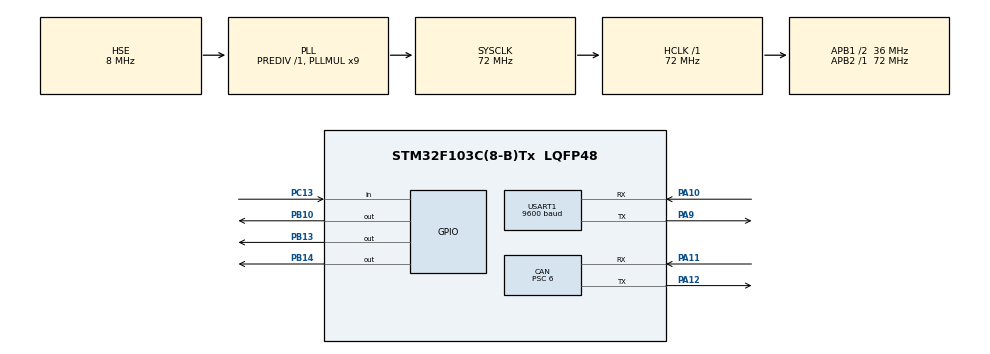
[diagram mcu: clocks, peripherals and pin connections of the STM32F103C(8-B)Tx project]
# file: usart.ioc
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CAN.BS1=CAN_BS1_8TQ
CAN.BS2=CAN_BS2_3TQ
CAN.CalculateBaudRate=499999
CAN.CalculateTimeBit=2000
CAN.CalculateTimeQuantum=166.66666666666669
CAN.Prescaler=6
IWDG.Prescaler=IWDG_PRESCALER_128
IWDG.Reload=2000
Mcu.Family=STM32F1
Mcu.Name=STM32F103C(8-B)Tx
Mcu.Package=LQFP48
NVIC.PriorityGroup=NVIC_PRIORITYGROUP_4
NVIC.TIM4_IRQn=true\:15\:0\:true\:false\:true\:false\:true\:true
NVIC.TimeBase=TIM4_IRQn
NVIC.TimeBaseIP=TIM4
NVIC.USART1_IRQn=true\:0\:0\:false\:false\:true\:true\:true\:true
PA10.Mode=Asynchronous
PA10.Signal=USART1_RX
PA11.Mode=CAN_Activate
PA11.Signal=CAN_RX
PA12.Mode=CAN_Activate
PA12.Signal=CAN_TX
PA13.Mode=Serial_Wire
PA13.Signal=SYS_JTMS-SWDIO
PA14.Mode=Serial_Wire
PA14.Signal=SYS_JTCK-SWCLK
PA9.Mode=Asynchronous
PA9.Signal=USART1_TX
PB10.GPIO_ModeDefaultOutputPP=GPIO_MODE_OUTPUT_OD
PB10.GPIO_PuPd=GPIO_NOPULL
PB10.Signal=GPIO_Output
PB13.GPIO_ModeDefaultOutputPP=GPIO_MODE_OUTPUT_OD
PB13.GPIO_PuPd=GPIO_NOPULL
PB13.GPIO_Speed=GPIO_SPEED_FREQ_MEDIUM
PB13.PinState=GPIO_PIN_SET
PB13.Signal=GPIO_Output
PB14.GPIO_ModeDefaultOutputPP=GPIO_MODE_OUTPUT_OD
PB14.GPIO_PuPd=GPIO_NOPULL
PB14.GPIO_Speed=GPIO_SPEED_FREQ_MEDIUM
PB14.PinState=GPIO_PIN_SET
PB14.Signal=GPIO_Output
PC13-TAMPER-RTC.Signal=GPIO_Input
PC14-OSC32_IN.Mode=LSE-External-Oscillator
PC14-OSC32_IN.Signal=RCC_OSC32_IN
PC15-OSC32_OUT.Mode=LSE-External-Oscillator
PC15-OSC32_OUT.Signal=RCC_OSC32_OUT
PD0-OSC_IN.Mode=HSE-External-Oscillator
PD0-OSC_IN.Signal=RCC_OSC_IN
PD1-OSC_OUT.Mode=HSE-External-Oscillator
PD1-OSC_OUT.Signal=RCC_OSC_OUT
ProjectManager.HeapSize=0x200
ProjectManager.StackSize=0x400
ProjectManager.TargetToolchain=CMake
RCC.AHBFreq_Value=72000000
RCC.APB1CLKDivider=RCC_HCLK_DIV2
RCC.APB1Freq_Value=36000000
RCC.APB1TimFreq_Value=72000000
RCC.APB2Freq_Value=72000000
RCC.APB2TimFreq_Value=72000000
RCC.HCLKFreq_Value=72000000
RCC.PLLMUL=RCC_PLL_MUL9
RCC.PLLSourceVirtual=RCC_PLLSOURCE_HSE
RCC.SYSCLKFreq_VALUE=72000000
RCC.SYSCLKSource=RCC_SYSCLKSOURCE_PLLCLK
RCC.USBFreq_Value=72000000
USART1.BaudRate=9600
USART1.VirtualMode=VM_ASYNC
VP_IWDG_VS_IWDG.Mode=IWDG_Activate
VP_SYS_VS_tim4.Mode=TIM4
board=custom

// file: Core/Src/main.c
/* USER CODE BEGIN Header */
/**
  ******************************************************************************
  * @file           : main.c
  * @brief          : Main program body
  ******************************************************************************
  * @attention
  *
  * Copyright (c) 2026 STMicroelectronics.
  * All rights reserved.
  *
  * This software is licensed under terms that can be found in the LICENSE file
  * in the root directory of this software component.
  * If no LICENSE file comes with this software, it is provided AS-IS.
  *
  ******************************************************************************
  */
/* USER CODE END Header */
#include "main.h"

/* USER CODE BEGIN Includes */
#include <string.h>
#include <stdarg.h>
#include <stdio.h>
#include "freertos_demo.h"
#include "semphr.h"
#include "Get_and_Convert.h"
#include "APP_UPDATA.h"
#include "Safety_Protection.h"
/* USER CODE END Includes */

CAN_HandleTypeDef hcan;

IWDG_HandleTypeDef hiwdg;

UART_HandleTypeDef huart1;

/* USER CODE BEGIN PV */
SemaphoreHandle_t uart_mutex;
/* USER CODE END PV */

void SystemClock_Config(void);
static void MX_GPIO_Init(void);
static void MX_USART1_UART_Init(void);
static void MX_IWDG_Init(void);
static void MX_CAN_Init(void);
/* USER CODE BEGIN PFP */
int uart_printf(const char* format, ...);
void CAN_Init(void);
/* USER CODE END PFP */

int main(void)
{

  /* MCU Configuration--------------------------------------------------------*/

  /* Reset of all peripherals, Initializes the Flash interface and the Systick. */
  HAL_Init();

  /* Configure the system clock */
  SystemClock_Config();

  /* Initialize all configured peripherals */
  MX_GPIO_Init();
  MX_USART1_UART_Init();
  MX_IWDG_Init();
  MX_CAN_Init();
  /* USER CODE BEGIN 2 */
  /*********************在进入freertos_start前，直接初始化所有数据**********************/

    uart_mutex = xSemaphoreCreateMutex();  // 创建互斥锁
    CAN_Init();                       // 初始化 CAN过滤器
    BQ76920_Init_SOC();
   // uart_printf("=== System START ===\n");

  /* 启动FreeRTOS */
  freertos_start();
  /*进入freertos_start后，下面的代码不会被执行*/

  /* USER CODE END 2 */

  /* Infinite loop */
  while (1)
  {

  }
}

void SystemClock_Config(void)
{
  RCC_OscInitTypeDef RCC_OscInitStruct = {0};
  RCC_ClkInitTypeDef RCC_ClkInitStruct = {0};

  /** Initializes the RCC Oscillators according to the specified parameters
  * in the RCC_OscInitTypeDef structure.
  */
  RCC_OscInitStruct.OscillatorType = RCC_OSCILLATORTYPE_LSI|RCC_OSCILLATORTYPE_HSE;
  RCC_OscInitStruct.HSEState = RCC_HSE_ON;
  RCC_OscInitStruct.HSEPredivValue = RCC_HSE_PREDIV_DIV1;
  RCC_OscInitStruct.HSIState = RCC_HSI_ON;
  RCC_OscInitStruct.LSIState = RCC_LSI_ON;
  RCC_OscInitStruct.PLL.PLLState = RCC_PLL_ON;
  RCC_OscInitStruct.PLL.PLLSource = RCC_PLLSOURCE_HSE;
  RCC_OscInitStruct.PLL.PLLMUL = RCC_PLL_MUL9;
  if (HAL_RCC_OscConfig(&RCC_OscInitStruct) != HAL_OK)
  {
    Error_Handler();
  }

  /** Initializes the CPU, AHB and APB buses clocks
  */
  RCC_ClkInitStruct.ClockType = RCC_CLOCKTYPE_HCLK|RCC_CLOCKTYPE_SYSCLK
                              |RCC_CLOCKTYPE_PCLK1|RCC_CLOCKTYPE_PCLK2;
  RCC_ClkInitStruct.SYSCLKSource = RCC_SYSCLKSOURCE_PLLCLK;
  RCC_ClkInitStruct.AHBCLKDivider = RCC_SYSCLK_DIV1;
  RCC_ClkInitStruct.APB1CLKDivider = RCC_HCLK_DIV2;
  RCC_ClkInitStruct.APB2CLKDivider = RCC_HCLK_DIV1;

  if (HAL_RCC_ClockConfig(&RCC_ClkInitStruct, FLASH_LATENCY_2) != HAL_OK)
  {
    Error_Handler();
  }
}

static void MX_CAN_Init(void)
{

  hcan.Instance = CAN1;
  hcan.Init.Prescaler = 6;
  hcan.Init.Mode = CAN_MODE_NORMAL;
  hcan.Init.SyncJumpWidth = CAN_SJW_1TQ;
  hcan.Init.TimeSeg1 = CAN_BS1_8TQ;
  hcan.Init.TimeSeg2 = CAN_BS2_3TQ;
  hcan.Init.TimeTriggeredMode = DISABLE;
  hcan.Init.AutoBusOff = DISABLE;
  hcan.Init.AutoWakeUp = DISABLE;
  hcan.Init.AutoRetransmission = DISABLE;
  hcan.Init.ReceiveFifoLocked = DISABLE;
  hcan.Init.TransmitFifoPriority = DISABLE;
  if (HAL_CAN_Init(&hcan) != HAL_OK)
  {
    Error_Handler();
  }

}

static void MX_IWDG_Init(void)
{

  hiwdg.Instance = IWDG;
  hiwdg.Init.Prescaler = IWDG_PRESCALER_128;
  hiwdg.Init.Reload = 2000;
  if (HAL_IWDG_Init(&hiwdg) != HAL_OK)
  {
    Error_Handler();
  }

}

static void MX_USART1_UART_Init(void)
{

  huart1.Instance = USART1;
  huart1.Init.BaudRate = 9600;
  huart1.Init.WordLength = UART_WORDLENGTH_8B;
  huart1.Init.StopBits = UART_STOPBITS_1;
  huart1.Init.Parity = UART_PARITY_NONE;
  huart1.Init.Mode = UART_MODE_TX_RX;
  huart1.Init.HwFlowCtl = UART_HWCONTROL_NONE;
  huart1.Init.OverSampling = UART_OVERSAMPLING_16;
  if (HAL_UART_Init(&huart1) != HAL_OK)
  {
    Error_Handler();
  }

}

static void MX_GPIO_Init(void)
{
  GPIO_InitTypeDef GPIO_InitStruct = {0};

  /* GPIO Ports Clock Enable */
  __HAL_RCC_GPIOC_CLK_ENABLE();
  __HAL_RCC_GPIOD_CLK_ENABLE();
  __HAL_RCC_GPIOB_CLK_ENABLE();
  __HAL_RCC_GPIOA_CLK_ENABLE();

  /*Configure GPIO pin Output Level */
  HAL_GPIO_WritePin(GPIOB, GPIO_PIN_10, GPIO_PIN_RESET);

  /*Configure GPIO pin Output Level */
  HAL_GPIO_WritePin(GPIOB, GPIO_PIN_13|GPIO_PIN_14, GPIO_PIN_SET);

  /*Configure GPIO pin : PC13 */
  GPIO_InitStruct.Pin = GPIO_PIN_13;
  GPIO_InitStruct.Mode = GPIO_MODE_INPUT;
  GPIO_InitStruct.Pull = GPIO_NOPULL;
  HAL_GPIO_Init(GPIOC, &GPIO_InitStruct);

  /*Configure GPIO pin : PB10 */
  GPIO_InitStruct.Pin = GPIO_PIN_10;
  GPIO_InitStruct.Mode = GPIO_MODE_OUTPUT_OD;
  GPIO_InitStruct.Pull = GPIO_NOPULL;
  GPIO_InitStruct.Speed = GPIO_SPEED_FREQ_LOW;
  HAL_GPIO_Init(GPIOB, &GPIO_InitStruct);

  /*Configure GPIO pins : PB13 PB14 */
  GPIO_InitStruct.Pin = GPIO_PIN_13|GPIO_PIN_14;
  GPIO_InitStruct.Mode = GPIO_MODE_OUTPUT_OD;
  GPIO_InitStruct.Pull = GPIO_NOPULL;
  GPIO_InitStruct.Speed = GPIO_SPEED_FREQ_MEDIUM;
  HAL_GPIO_Init(GPIOB, &GPIO_InitStruct);

}

/* USER CODE BEGIN 4 */
/**
  * @brief  通用UART发送函数（类似printf）
  * @param  format: 格式化字符串
  * @param  ...: 可变参数
  * @retval 发送的字节数
  */
int uart_printf(const char* format, ...)
{
 if (xSemaphoreTake(uart_mutex, pdMS_TO_TICKS(100)) == pdTRUE)
    {
        char buffer[256];
        va_list args;
        va_start(args, format);
        int len = vsnprintf(buffer, sizeof(buffer), format, args);
        va_end(args);
        HAL_UART_Transmit(&huart1, (uint8_t*)buffer, len, HAL_MAX_DELAY);
        xSemaphoreGive(uart_mutex);
        return len;
    }
    return 0;
}

/*
 * @brief 发送BMS数据到CAN总线
*/
 void BMS_CAN_SendData(void)
{
    CAN_TxHeaderTypeDef txHeader;   // 定义元数据结构
    uint8_t txData[8];             // 定义发送数据数组
    uint32_t txMailbox;            // 定义发送邮箱变量

    // ----- 帧0x181: 电流、温度、SOC -----
    // ----- 帧0x181: 电流、温度、SOC -----
    txHeader.StdId = 0x181;
    txHeader.IDE = CAN_ID_STD;
    txHeader.RTR = CAN_RTR_DATA;
    txHeader.DLC = 8;

    int16_t current_int = (int16_t)BQ76920_Data.CC;
    int16_t temp_int = (int16_t)BQ76920_Data.Temp;
    uint16_t soc_int = (uint16_t)BQ76920_Data.SOC;

    txData[0] = (current_int >> 8) & 0xFF;
    txData[1] = current_int & 0xFF;
    txData[2] = (temp_int >> 8) & 0xFF;
    txData[3] = temp_int & 0xFF;
    txData[4] = (soc_int >> 8) & 0xFF;
    txData[5] = soc_int & 0xFF;

    // 读取 MOS 状态寄存器 SYS_CTRL2 (地址 0x05)
    uint8_t sys_ctrl2 = 0;
    BQ76920_Read_Reg(0x05, &sys_ctrl2);
    txData[6] = sys_ctrl2;   // bit0=CHG_ON, bit1=DSG_ON

    // 读取均衡状态 (0x01) 放入第7字节
    uint8_t cell_bal = 0;
    BQ76920_Read_Reg(0x01, &cell_bal);
    txData[7] = cell_bal;   // 低5位表示均衡掩码

    HAL_CAN_AddTxMessage(&hcan, &txHeader, txData, &txMailbox);

    // ----- 帧0x182: 前四节电压 -----
    txHeader.StdId = 0x182;
    txData[0] = (BQ76920_Data.Cell_V[0] >> 8) & 0xFF;
    txData[1] = BQ76920_Data.Cell_V[0] & 0xFF;
    txData[2] = (BQ76920_Data.Cell_V[1] >> 8) & 0xFF;
    txData[3] = BQ76920_Data.Cell_V[1] & 0xFF;
    txData[4] = (BQ76920_Data.Cell_V[2] >> 8) & 0xFF;
    txData[5] = BQ76920_Data.Cell_V[2] & 0xFF;
    txData[6] = (BQ76920_Data.Cell_V[3] >> 8) & 0xFF;
    txData[7] = BQ76920_Data.Cell_V[3] & 0xFF;
    HAL_CAN_AddTxMessage(&hcan, &txHeader, txData, &txMailbox);

    // ----- 帧0x183: 第五节 + 最小/最大/压差 -----
    txHeader.StdId = 0x183;
    txData[0] = (BQ76920_Data.Cell_V[4] >> 8) & 0xFF;
    txData[1] = BQ76920_Data.Cell_V[4] & 0xFF;
    txData[2] = ((uint16_t)BQ76920_Data.MinVolt >> 8) & 0xFF;
    txData[3] = (uint16_t)BQ76920_Data.MinVolt & 0xFF;
    txData[4] = ((uint16_t)BQ76920_Data.MaxVolt >> 8) & 0xFF;
    txData[5] = (uint16_t)BQ76920_Data.MaxVolt & 0xFF;
    txData[6] = ((uint16_t)BQ76920_Data.DiffVolt >> 8) & 0xFF;
    txData[7] = (uint16_t)BQ76920_Data.DiffVolt & 0xFF;
    HAL_CAN_AddTxMessage(&hcan, &txHeader, txData, &txMailbox);
}

/**
 * @brief  CAN 命令接收与处理（非阻塞，轮询方式）
 * @note   在 FreeRTOS 任务中周期调用（如每 10ms 调用一次）
 */
void CAN_ProcessCommands(void)
{
    CAN_RxHeaderTypeDef rxHeader;
    uint8_t rxData[8];
    if (HAL_CAN_GetRxMessage(&hcan, CAN_RX_FIFO0, &rxHeader, rxData) != HAL_OK)
        return;
    if (rxHeader.StdId != 0x201 || rxHeader.DLC < 2)
        return;

    // 收到任何命令，都激活手动模式并重置计时器
    Manual_Mode_Active = 1;
    Manual_Mode_Timer = 0;

    switch (rxData[0])
    {
        case 0x01: // 充电MOS
            if (rxData[1]) Bms_Turn_On_Charge_MOS();
            else Bms_Turn_Off_Charge_MOS();
            break;
        case 0x02: // 放电MOS
            if (rxData[1]) Bms_Turn_On_Discharge_MOS();
            else Bms_Turn_Off_Discharge_MOS();
            break;
        case 0x03: // 均衡
            BQ76920_Write_Reg(0x01, rxData[1]);  // 直接写均衡寄存器
            break;
        case 0x04: // 复位锁定
            Bms_Reset_Safety_Lock();
            break;
        default: break;
    }
}

/* USER CODE END 4 */

void HAL_TIM_PeriodElapsedCallback(TIM_HandleTypeDef *htim)
{
  if (htim->Instance == TIM4)
  {
    HAL_IncTick();
  }
}

void Error_Handler(void)
{
  __disable_irq();
  while (1)
  {
  }
}
